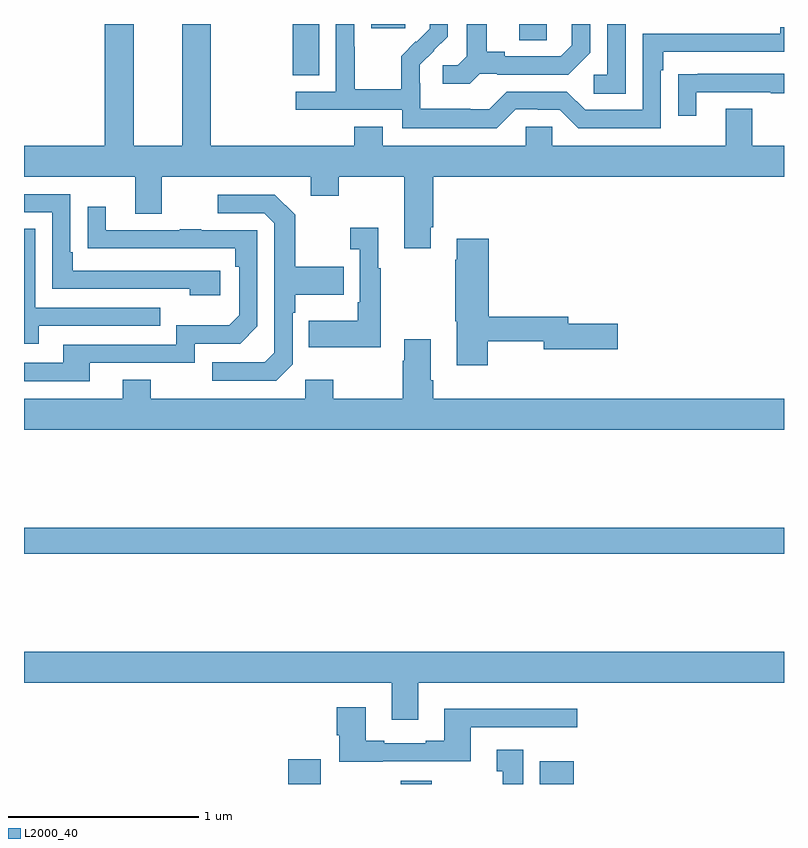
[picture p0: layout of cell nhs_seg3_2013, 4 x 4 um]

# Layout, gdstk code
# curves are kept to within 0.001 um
import gdstk
lib = gdstk.Library(unit=1e-6, precision=1e-09)
def R(c, l, rs):  # rectangles x0, y0, x1, y1
    for r in rs: c.add(gdstk.rectangle(r[:2], r[2:], *l))
def P(c, l, *ps):  # polygons
    for p in ps: c.add(gdstk.Polygon(p, *l))
L2000_40 = (2000, 40)

nhs_seg3_2013 = lib.new_cell('nhs_seg3_2013')
R(nhs_seg3_2013, L2000_40, [(216.392,684.4,216.562,684.529), (216.983,684.4,217.147,684.418), (217.715,684.4,217.894,684.52), (215,685.612,219,685.748), (216.415,688.129,216.553,688.4), (217.607,688.315,217.752,688.4), (216.827,688.377,217.006,688.4)])
P(nhs_seg3_2013, L2000_40, [(218.166,688.4),(218.07,688.4),(218.07,688.134),(217.998,688.134),(217.998,688.033),(218.166,688.033)],
  [(217.141,687.331),(217.154,687.331),(217.154,687.596),(219,687.596),(219,687.76),(218.833,687.76),(218.833,687.955),(218.693,687.955),(218.693,687.76),(217.779,687.76),(217.779,687.858),(217.641,687.858),(217.641,687.76),(216.889,687.76),(216.889,687.859),(216.737,687.859),(216.737,687.76),(215.982,687.76),(215.982,688.4),(215.834,688.4),(215.834,687.76),(215.578,687.76),(215.578,688.4),(215.426,688.4),(215.426,687.76),(215,687.76),(215,687.596),(215.585,687.596),(215.585,687.402),(215.725,687.402),(215.725,687.596),(216.509,687.596),(216.509,687.497),(216.657,687.497),(216.657,687.596),(217.001,687.596),(217.001,687.219),(217.141,687.219)],
  [(217.587,687.951),(217.703,687.951),(217.703,687.948),(217.821,687.948),(217.917,687.852),(218.352,687.852),(218.352,688.157),(218.365,688.157),(218.365,688.254),(219,688.254),(219,688.384),(218.981,688.384),(218.981,688.35),(218.256,688.35),(218.256,687.948),(217.953,687.948),(217.857,688.044),(217.542,688.044),(217.449,687.951),(217.349,687.951),(217.349,687.955),(217.086,687.955),(217.086,688.089),(217.084,688.089),(217.084,688.186),(217.23,688.334),(217.23,688.4),(217.136,688.4),(217.136,688.376),(217.065,688.305),(217.062,688.308),(216.985,688.231),(216.985,688.057),(216.741,688.057),(216.741,688.28),(216.738,688.28),(216.738,688.4),(216.642,688.4),(216.642,688.044),(216.429,688.044),(216.429,687.948),(216.99,687.948),(216.99,687.851),(217.487,687.851)],
  [(217.398,688.137),(217.492,688.137),(217.492,688.134),(217.864,688.134),(217.98,688.25),(217.98,688.4),(217.883,688.4),(217.883,688.287),(217.826,688.23),(217.531,688.23),(217.531,688.253),(217.435,688.253),(217.435,688.4),(217.331,688.4),(217.331,688.229),(217.284,688.182),(217.203,688.182),(217.203,688.085),(217.346,688.085)],
  [(218.539,688.041),(218.929,688.041),(218.929,688.036),(219,688.036),(219,688.137),(218.545,688.137),(218.545,688.136),(218.443,688.136),(218.443,687.918),(218.539,687.918)],
  [(216.034,687.102),(215.257,687.102),(215.257,687.199),(215.244,687.199),(215.244,687.504),(215,687.504),(215,687.408),(215.148,687.408),(215.148,687.006),(215.873,687.006),(215.873,686.972),(216.034,686.972)],
  [(216.414,686.61),(216.414,686.879),(216.427,686.879),(216.427,686.975),(216.683,686.975),(216.683,687.123),(216.427,687.123),(216.427,687.395),(216.321,687.501),(216.021,687.501),(216.021,687.405),(216.264,687.405),(216.318,687.351),(216.318,686.67),(216.267,686.619),(215.991,686.619),(215.991,686.523),(216.327,686.523)],
  [(215.347,686.616),(215.898,686.616),(215.898,686.718),(216.138,686.718),(216.228,686.808),(216.228,687.315),(215.933,687.315),(215.933,687.32),(215.821,687.32),(215.821,687.315),(215.431,687.315),(215.431,687.439),(215.335,687.439),(215.335,687.22),(216.112,687.219),(216.112,687.122),(216.132,687.122),(216.132,686.868),(216.079,686.815),(215.802,686.815),(215.802,686.712),(215.207,686.712),(215.207,686.616),(215,686.616),(215,686.52),(215.347,686.52)],
  [(216.877,687.115),(216.865,687.115),(216.865,687.328),(216.717,687.328),(216.717,687.215),(216.768,687.215),(216.768,686.935),(216.756,686.935),(216.756,686.839),(216.499,686.839),(216.499,686.699),(216.877,686.699)],
  [(215.077,686.811),(215.717,686.811),(215.717,686.907),(215.058,686.907),(215.058,687.323),(215,687.323),(215,686.717),(215.077,686.717)],
  [(217.44,686.73),(217.736,686.73),(217.736,686.687),(218.125,686.687),(218.125,686.822),(217.864,686.822),(217.864,686.858),(217.445,686.858),(217.445,687.271),(217.277,687.271),(217.277,687.158),(217.27,687.158),(217.27,686.835),(217.277,686.835),(217.277,686.604),(217.44,686.604)],
  [(219,686.428),(217.154,686.428),(217.154,686.524),(217.141,686.524),(217.141,686.74),(217.001,686.74),(217.001,686.627),(216.994,686.627),(216.994,686.428),(216.627,686.428),(216.627,686.527),(216.48,686.527),(216.48,686.428),(215.667,686.428),(215.667,686.527),(215.519,686.527),(215.519,686.428),(215,686.428),(215,686.264),(219,686.264)],
  [(217.075,684.932),(219,684.932),(219,685.096),(215,685.096),(215,684.932),(216.935,684.932),(216.935,684.738),(217.075,684.738)],
  [(216.887,684.519),(217.351,684.519),(217.351,684.699),(217.912,684.699),(217.912,684.796),(217.211,684.796),(217.211,684.628),(217.115,684.628),(217.115,684.615),(216.895,684.615),(216.895,684.628),(216.799,684.628),(216.799,684.805),(216.647,684.805),(216.647,684.657),(216.659,684.657),(216.659,684.518),(216.887,684.518)],
  [(217.627,684.58),(217.487,684.58),(217.487,684.467),(217.52,684.467),(217.52,684.4),(217.627,684.4)])

lib.write_gds('nhs_seg3_2013.gds')
